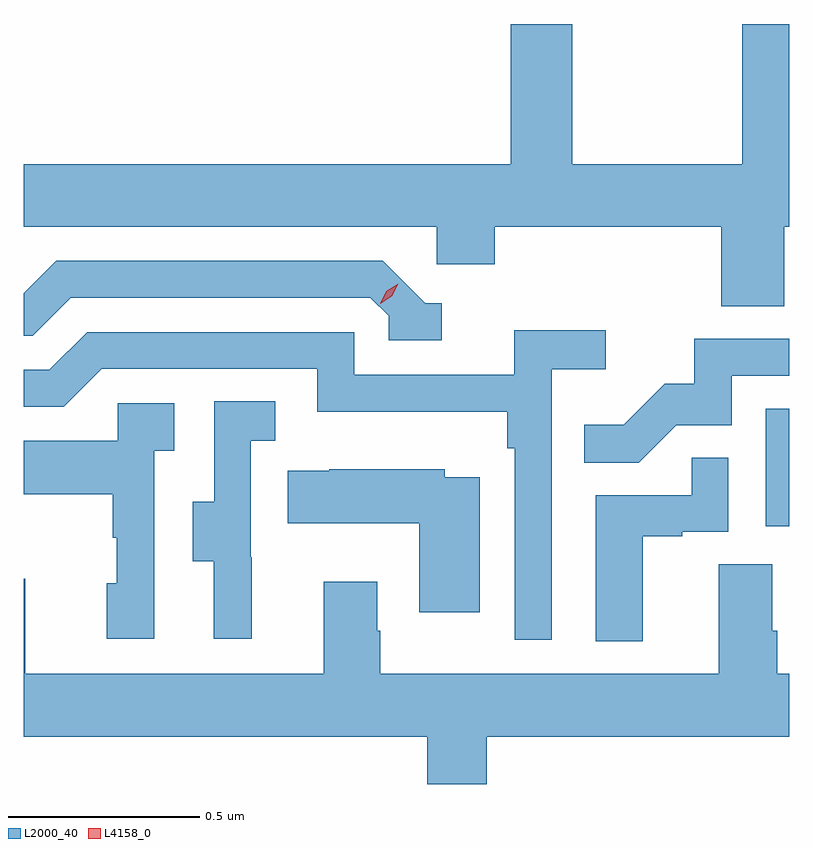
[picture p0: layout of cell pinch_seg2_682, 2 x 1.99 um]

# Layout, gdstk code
import gdstk
lib = gdstk.Library(unit=1e-6, precision=1e-09)
def R(c, l, rs):  # rectangles x0, y0, x1, y1
    for r in rs: c.add(gdstk.rectangle(r[:2], r[2:], *l))
def P(c, l, *ps):  # polygons
    for p in ps: c.add(gdstk.Polygon(p, *l))
L2000_40 = (2000, 40)
L4158_0 = (4158, 0)

pinch_seg2_682 = lib.new_cell('pinch_seg2_682')
R(pinch_seg2_682, L2000_40, [(1023.836,593.574,1023.897,593.881)])
P(pinch_seg2_682, L2000_40, [(1023.884,594.356),(1023.897,594.356),(1023.897,594.886),(1023.775,594.886),(1023.775,594.52),(1023.33,594.52),(1023.33,594.886),(1023.17,594.886),(1023.17,594.52),(1021.897,594.52),(1021.897,594.356),(1022.976,594.356),(1022.976,594.258),(1023.128,594.258),(1023.128,594.356),(1023.719,594.356),(1023.719,594.148),(1023.884,594.148)],
  [(1022.989,594.156),(1022.946,594.156),(1022.835,594.267),(1021.982,594.267),(1021.897,594.182),(1021.897,594.072),(1021.92,594.072),(1022.019,594.171),(1022.802,594.171),(1022.85,594.123),(1022.85,594.06),(1022.989,594.06)],
  [(1023.276,593.984),(1023.418,593.984),(1023.418,594.086),(1023.179,594.086),(1023.179,593.97),(1022.76,593.97),(1022.76,594.081),(1022.063,594.081),(1021.964,593.982),(1021.897,593.982),(1021.897,593.886),(1022.001,593.886),(1022.1,593.985),(1022.664,593.985),(1022.664,593.873),(1023.16,593.873),(1023.16,593.777),(1023.18,593.777),(1023.18,593.277),(1023.276,593.277)],
  [(1023.602,593.838),(1023.747,593.838),(1023.747,593.967),(1023.897,593.967),(1023.897,594.063),(1023.649,594.063),(1023.649,593.946),(1023.572,593.946),(1023.465,593.839),(1023.361,593.839),(1023.361,593.74),(1023.504,593.74)],
  [(1022.492,593.493),(1022.49,593.493),(1022.49,593.797),(1022.554,593.797),(1022.554,593.9),(1022.394,593.9),(1022.394,593.637),(1022.339,593.637),(1022.339,593.482),(1022.393,593.482),(1022.393,593.28),(1022.492,593.28)],
  [(1022.238,593.771),(1022.29,593.771),(1022.29,593.895),(1022.142,593.895),(1022.142,593.797),(1021.897,593.797),(1021.897,593.657),(1022.13,593.657),(1022.13,593.543),(1022.14,593.543),(1022.14,593.424),(1022.114,593.424),(1022.114,593.28),(1022.238,593.28)],
  [(1023.514,593.547),(1023.617,593.547),(1023.617,593.559),(1023.738,593.559),(1023.738,593.753),(1023.643,593.753),(1023.643,593.655),(1023.392,593.655),(1023.392,593.273),(1023.514,593.273)],
  [(1023.088,593.701),(1022.997,593.701),(1022.997,593.722),(1022.695,593.722),(1022.695,593.719),(1022.587,593.719),(1022.587,593.582),(1022.93,593.582),(1022.93,593.349),(1023.088,593.349)],
  [(1023.107,593.024),(1023.897,593.024),(1023.897,593.188),(1023.866,593.188),(1023.866,593.3),(1023.853,593.3),(1023.853,593.474),(1023.713,593.474),(1023.713,593.188),(1022.829,593.188),(1022.829,593.3),(1022.821,593.3),(1022.821,593.428),(1022.681,593.428),(1022.681,593.188),(1021.901,593.188),(1021.901,593.437),(1021.897,593.437),(1021.897,593.024),(1022.951,593.024),(1022.951,592.9),(1023.107,592.9)])
P(pinch_seg2_682, L4158_0, [(1022.828,594.155),(1022.828,594.155),(1022.844,594.188),(1022.875,594.207),(1022.875,594.207),(1022.875,594.207),(1022.859,594.174),(1022.828,594.155)])

lib.write_gds('pinch_seg2_682.gds')
